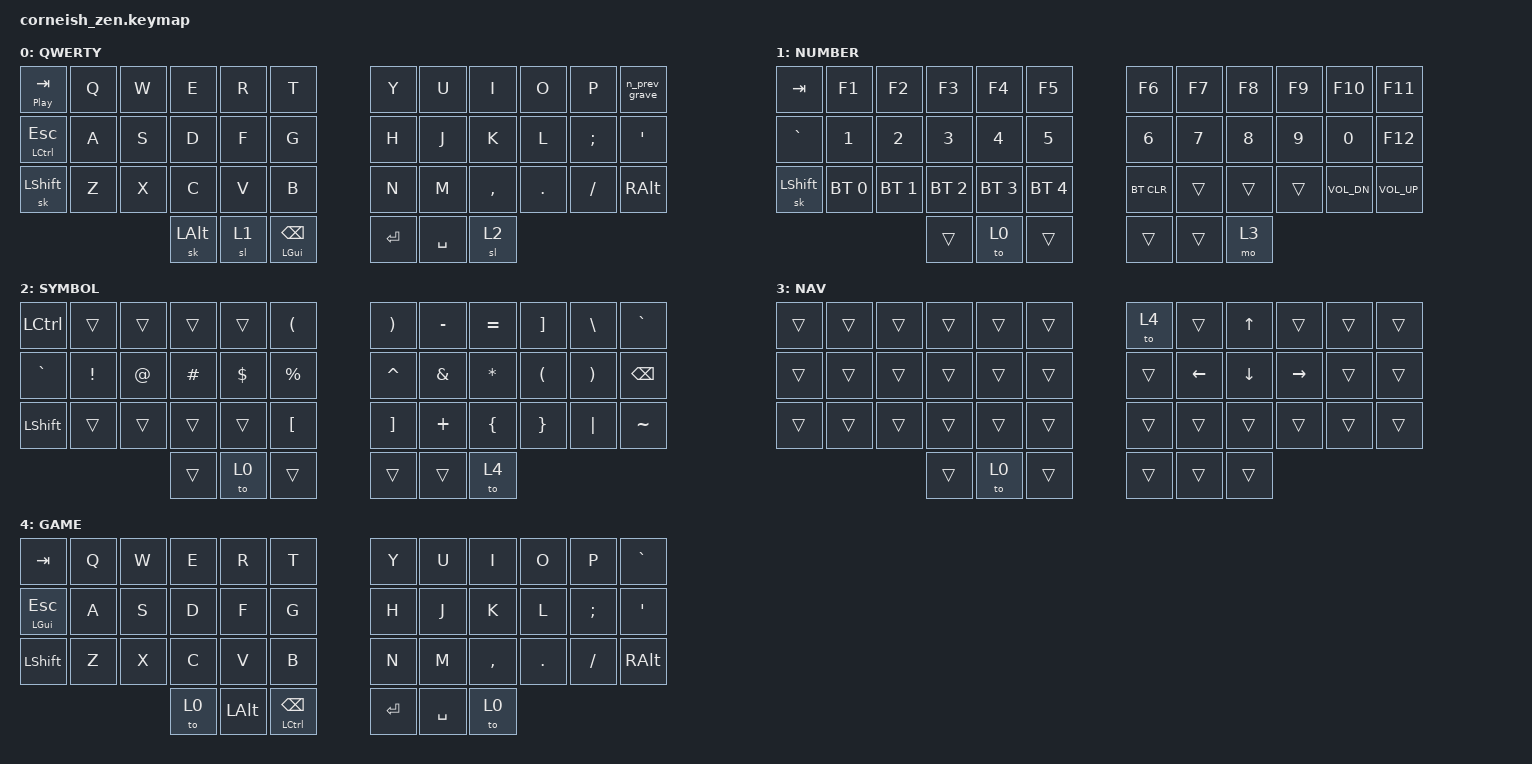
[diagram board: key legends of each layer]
#include <behaviors.dtsi>
#include <dt-bindings/zmk/keys.h>
#include <dt-bindings/zmk/bt.h>

/ {
  chosen {
    zmk,matrix_transform = &default_transform;
    //zmk,matrix_transform = &five_column_transform;
  };
};
/ {
    combos {
        compatible = "zmk,combos";
        jk_esc {
            timeout-ms = <50>;
            key-positions = <19 20>;
            bindings = <&kp ESC>;
        };
    };
};
/ {
        behaviors {
          bspc_del: backspace_delete {
            compatible = "zmk,behavior-mod-morph";
            label = "BACKSPACE_DELETE";
            #binding-cells = <0>;
            bindings = <&kp BACKSPACE>, <&kp DELETE>;
            mods = <(MOD_LSFT|MOD_RSFT)>;
          };
          n_prev_grave: tap_dance_0 {
            compatible = "zmk,behavior-tap-dance";
            #binding-cells = <0>;
            tapping-term-ms = <200>;
            bindings = <&kp GRAVE>, <&kp C_NEXT>, <&kp C_PREV>;
          };
        };
        keymap {
                compatible = "zmk,keymap";

                default_layer {
                        label = "QWERTY";
                        bindings = <
&mt C_PP TAB  &kp Q &kp W &kp E &kp R    &kp T             &kp Y     &kp U   &kp I     &kp O   &kp P    &n_prev_grave
&mt LCTRL ESC &kp A &kp S &kp D &kp F    &kp G             &kp H     &kp J   &kp K     &kp L   &kp SEMI &kp SQT
&sk LSHFT     &kp Z &kp X &kp C &kp V    &kp B             &kp N     &kp M   &kp COMMA &kp DOT &kp FSLH &kp RALT
                          &sk LALT &sl 1 &mt LGUI BSPC     &kp RET &kp SPACE &sl 2
                        >;
                };
                
                lower_layer {
                        label = "NUMBER";
                        bindings = <
&kp TAB    &kp F1       &kp F2       &kp F3       &kp F4       &kp F5          &kp F6     &kp F7   &kp F8 &kp F9 &kp F10 &kp F11
&kp GRAVE  &kp N1       &kp N2       &kp N3       &kp N4       &kp N5          &kp N6     &kp N7   &kp N8 &kp N9 &kp N0  &kp F12
&sk LSHIFT &bt BT_SEL 0 &bt BT_SEL 1 &bt BT_SEL 2 &bt BT_SEL 3 &bt BT_SEL 4    &bt BT_CLR &trans   &trans &trans &kp C_VOL_DN &kp C_VOL_UP 
                       	             &trans       &to 0        &trans          &trans     &trans   &mo 3
                        >;
                };

                raise_layer {
                        label = "SYMBOL";
                        bindings = <
&kp LCTRL &trans   &trans &trans   &trans   &kp LPAR   &kp RPAR  &kp MINUS &kp EQUAL &kp RBKT &kp BSLH &kp GRAVE
&kp GRAVE &kp EXCL &kp AT &kp HASH &kp DLLR &kp PRCNT  &kp CARET &kp AMPS  &kp STAR  &kp LPAR &kp RPAR &kp BSPC
&kp LSHFT &trans   &trans &trans   &trans   &kp LBKT   &kp RBKT  &kp PLUS  &kp LBRC  &kp RBRC &kp PIPE &kp TILDE
                          &trans   &to 0    &trans     &trans    &trans    &to 4
                        >;
                };
                
                nav_layer {
                        label = "NAV";
                        bindings = <
&trans &trans &trans &trans &trans &trans   &to 4  &trans   &kp UP    &trans    &trans &trans
&trans &trans &trans &trans &trans &trans   &trans &kp LEFT &kp DOWN  &kp RIGHT &trans &trans 
&trans &trans &trans &trans &trans &trans   &trans &trans   &trans    &trans    &trans &trans 
                     &trans &to 0  &trans   &trans &trans   &trans
                        >;
                };

                game_layer {
                        label = "GAME";
                        bindings = <
&kp TAB       &kp Q &kp W &kp E &kp R      &kp T           &kp Y     &kp U     &kp I     &kp O   &kp P    &kp GRAVE
&mt LGUI ESC  &kp A &kp S &kp D &kp F      &kp G           &kp H     &kp J     &kp K     &kp L   &kp SEMI &kp SQT
&kp LSHFT     &kp Z &kp X &kp C &kp V      &kp B           &kp N     &kp M     &kp COMMA &kp DOT &kp FSLH &kp RALT
                          &to 0 &kp LALT  &mt LCTRL BSPC   &kp RET &kp SPACE &to 0
                        >;
                };

        };
};
